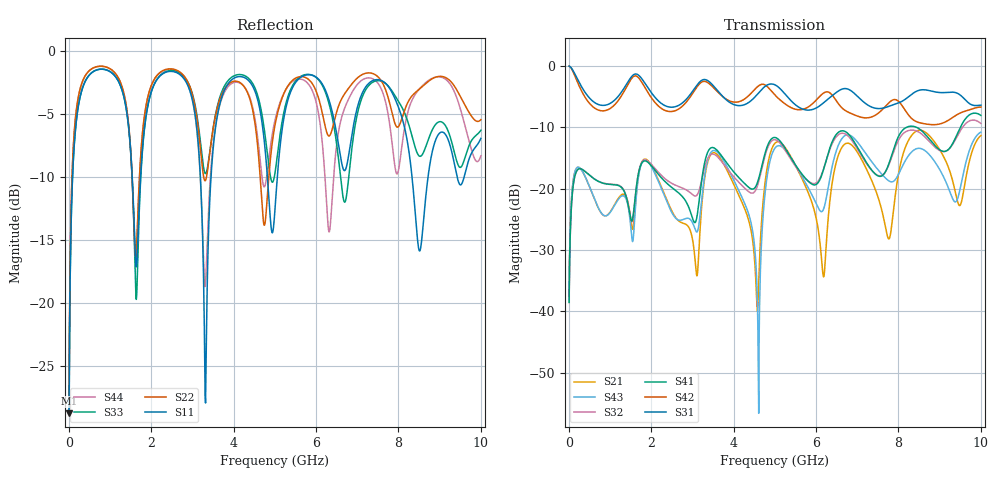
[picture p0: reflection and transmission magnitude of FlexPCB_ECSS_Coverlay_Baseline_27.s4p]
! TOUCHSTONE file generated by CST MICROWAVE STUDIO
! Date and time: Sun Jul  5 19:09:49 2026
! Project name: FlexPCB_ECSS_Coverlay_Baseline.cst
! Parameters = {Gap=1; GroundW=8.4; Hadh=0.025; Hcov=0.025; Hsub=0.1; L=50; Tcu=0.035; W=0.24}
! Header version: 2024
! Port assignment regex: !\s*Touchstone port\s*([0-9]+)\s*=\s*(CST MWS port|CST DES external port|CST DES block port)\s*(.+)\s* \(\"(.*)\"\)(\s*mode\s*([0-9]+))?.*
! Touchstone port assignment:
! Touchstone port 1 = CST MWS port 1 ("")
! Touchstone port 2 = CST MWS port 2 ("")
! Touchstone port 3 = CST MWS port 3 ("")
! Touchstone port 4 = CST MWS port 4 ("")
# GHz S MA R 50
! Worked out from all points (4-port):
!   1002 points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, 10 MHz to 10 GHz, reference 50 ohm
!   strongest paths, dB at 10 MHz, 2.51 GHz, 5.01 GHz, 7.503 GHz, 10 GHz:
!     S31: 0.0, -6.7, -3.1, -6.9, -6.4
!     S42: 0.0, -7.4, -4.8, -7.7, -6.7
!     S41: -38.5, -19.8, -11.7, -17.9, -8.0
!     S32: -38.5, -19.2, -12.0, -17.8, -9.4
!     S43: -37.6, -24.0, -13.3, -16.9, -10.8
!     S21: -37.6, -23.7, -12.5, -21.3, -11.3
!   lowest |S11| = -28.7 dB at 10 MHz (marker M1), VSWR 1.08, Z = 49.8 - j3.64 ohm
!   |S11| at or under -10 dB: 3.194 GHz to 3.453 GHz (258.4 MHz wide, 7.77 % of centre); 4.82 GHz to 5.062 GHz (241.5 MHz wide, 4.89 % of centre); 8.329 GHz to 8.718 GHz (389 MHz wide, 4.56 % of centre)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
0.01  0.03652 -91.4  0.01321 85.0  0.9982 -2.5  0.01183 85.1
      0.01321 85.0  0.04209 -91.8  0.01183 85.1  0.9979 -2.8
      0.9982 -2.5  0.01183 85.1  0.03652 -91.4  0.01321 85.0
      0.01183 85.1  0.9979 -2.8  0.01321 85.0  0.04209 -91.9
0.5  0.8012 -162.8  0.1047 -24.6  0.5508 -71.4  0.1291 -54.1
     0.1047 -24.6  0.8342 -164.3  0.1293 -53.5  0.4987 -73.6
     0.5508 -71.4  0.1293 -53.5  0.8018 -162.0  0.105 -24.6
     0.1291 -54.1  0.4987 -73.6  0.105 -24.6  0.8335 -164.8
1.63  0.1419 164.5  0.08358 45.4  0.8619 -179.9  0.09601 -124.6
      0.08358 45.4  0.1521 -178.4  0.09595 -121.7  0.8306 177.0
      0.8619 -179.9  0.09595 -121.7  0.1073 164.0  0.0787 52.9
      0.09601 -124.6  0.8306 177.0  0.0787 52.9  0.1478 -179.5
3.28  0.1049 108.2  0.1095 66.1  0.7767 2.4  0.1521 77.1
      0.1095 66.1  0.3128 164.0  0.1412 56.8  0.7508 -0.6
      0.7767 2.4  0.1412 56.8  0.3388 164.3  0.1165 52.3
      0.1521 77.1  0.7508 -0.6  0.1165 52.3  0.1365 144.1
4.6  0.6251 145.2  0.01379 162.1  0.6007 -133.1  0.1179 -79.4
     0.01379 162.1  0.393 142.8  0.1115 -78.2  0.6871 -149.5
     0.6007 -133.1  0.1115 -78.2  0.6516 150.1  0.002903 -75.1
     0.1179 -79.4  0.6871 -149.5  0.002903 -75.1  0.4306 152.7
4.91  0.2002 159.0  0.2039 46.4  0.7147 -179.2  0.253 -126.3
      0.2039 46.4  0.3951 -146.3  0.2424 -125.5  0.6294 158.8
      0.7147 -179.2  0.2424 -125.5  0.3084 163.9  0.1815 37.6
      0.253 -126.3  0.6294 158.8  0.1815 37.6  0.4356 -156.5
10  0.4494 -164.3  0.2712 -4.6  0.48 -31.1  0.3961 24.2
    0.2712 -4.6  0.5332 172.1  0.3401 24.3  0.463 -27.4
    0.48 -31.1  0.3401 24.3  0.484 -179.4  0.2891 -4.4
    0.3961 24.2  0.463 -27.4  0.2891 -4.4  0.3832 -176.8
